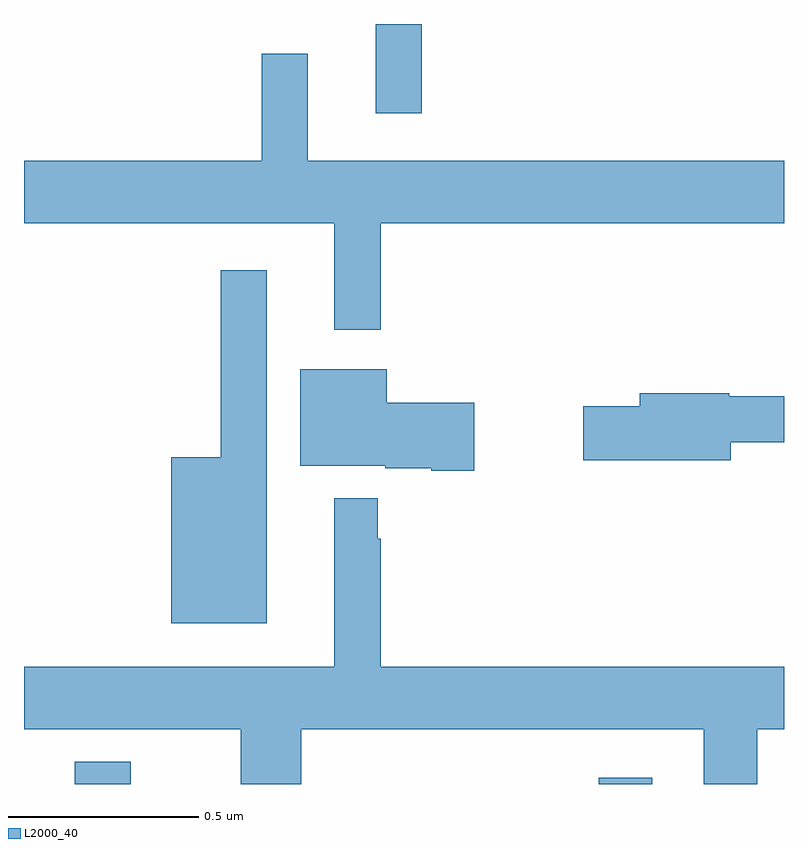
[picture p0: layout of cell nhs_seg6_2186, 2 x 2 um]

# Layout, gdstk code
import gdstk
lib = gdstk.Library(unit=1e-6, precision=1e-09)
def R(c, l, rs):  # rectangles x0, y0, x1, y1
    for r in rs: c.add(gdstk.rectangle(r[:2], r[2:], *l))
def P(c, l, *ps):  # polygons
    for p in ps: c.add(gdstk.Polygon(p, *l))
L2000_40 = (2000, 40)

nhs_seg6_2186 = lib.new_cell('nhs_seg6_2186')
R(nhs_seg6_2186, L2000_40, [(139.133,972.5,139.281,972.559), (140.513,972.5,140.653,972.517), (139.925,974.265,140.047,974.5)])
P(nhs_seg6_2186, L2000_40, [(139.939,973.976),(141,973.976),(141,974.14),(139.747,974.14),(139.747,974.422),(139.626,974.422),(139.626,974.14),(139,974.14),(139,973.976),(139.817,973.976),(139.817,973.695),(139.939,973.695)],
  [(139.639,973.852),(139.518,973.852),(139.518,973.36),(139.388,973.36),(139.388,972.923),(139.639,972.923)],
  [(140.185,973.503),(139.954,973.503),(139.954,973.591),(139.727,973.591),(139.727,973.337),(139.95,973.337),(139.95,973.331),(140.072,973.331),(140.072,973.325),(140.185,973.325)],
  [(140.86,973.399),(141,973.399),(141,973.52),(140.856,973.52),(140.856,973.528),(140.621,973.528),(140.621,973.494),(140.472,973.494),(140.472,973.352),(140.86,973.352)],
  [(139.73,972.644),(140.789,972.644),(140.789,972.5),(140.929,972.5),(140.929,972.644),(141,972.644),(141,972.808),(139.939,972.808),(139.939,973.145),(139.931,973.145),(139.931,973.252),(139.817,973.252),(139.817,972.808),(139,972.808),(139,972.644),(139.57,972.644),(139.57,972.5),(139.73,972.5)])

lib.write_gds('nhs_seg6_2186.gds')
